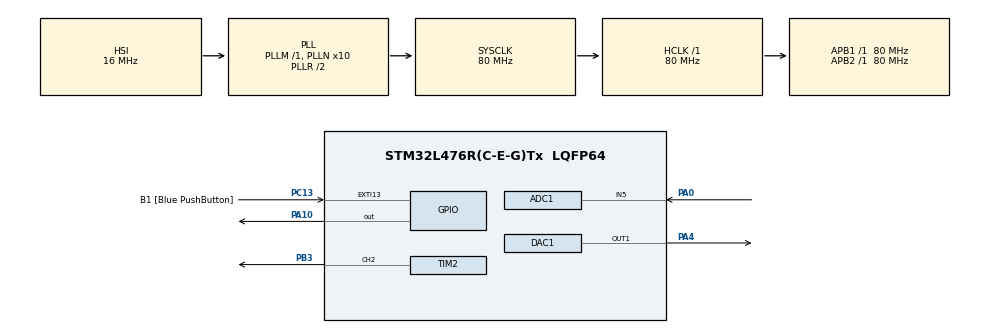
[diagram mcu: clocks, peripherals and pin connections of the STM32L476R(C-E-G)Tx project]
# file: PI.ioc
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ADC1.Channel-0\#ChannelRegularConversion=ADC_CHANNEL_5
ADC1.ContinuousConvMode=ENABLE
ADC1.DMAContinuousRequests=ENABLE
ADC1.NbrOfConversionFlag=1
ADC1.OffsetNumber-0\#ChannelRegularConversion=ADC_OFFSET_NONE
ADC1.Rank-0\#ChannelRegularConversion=1
ADC1.SamplingTime-0\#ChannelRegularConversion=ADC_SAMPLETIME_92CYCLES_5
ADC1.master=1
Dma.ADC1.0.Direction=DMA_PERIPH_TO_MEMORY
Dma.ADC1.0.Instance=DMA1_Channel1
Dma.ADC1.0.MemDataAlignment=DMA_MDATAALIGN_HALFWORD
Dma.ADC1.0.MemInc=DMA_MINC_ENABLE
Dma.ADC1.0.Mode=DMA_CIRCULAR
Dma.ADC1.0.PeriphDataAlignment=DMA_PDATAALIGN_HALFWORD
Dma.ADC1.0.PeriphInc=DMA_PINC_DISABLE
Dma.ADC1.0.Priority=DMA_PRIORITY_LOW
Dma.Request0=ADC1
Mcu.Family=STM32L4
Mcu.Name=STM32L476R(C-E-G)Tx
Mcu.Package=LQFP64
NVIC.DMA1_Channel1_IRQn=true\:0\:0\:false\:false\:true\:false\:true
NVIC.PriorityGroup=NVIC_PRIORITYGROUP_4
NVIC.TIM3_IRQn=true\:0\:0\:false\:false\:true\:true\:true
PA0.Signal=ADCx_IN5
PA10.Signal=GPIO_Output
PA13\ (JTMS-SWDIO).GPIO_Label=TMS
PA13\ (JTMS-SWDIO).Mode=Serial_Wire
PA13\ (JTMS-SWDIO).Signal=SYS_JTMS-SWDIO
PA14\ (JTCK-SWCLK).GPIO_Label=TCK
PA14\ (JTCK-SWCLK).Mode=Serial_Wire
PA14\ (JTCK-SWCLK).Signal=SYS_JTCK-SWCLK
PA4.Signal=COMP_DAC11_group
PB3\ (JTDO-TRACESWO).Signal=S_TIM2_CH2
PC13.GPIO_Label=B1 [Blue PushButton]
PC13.GPIO_ModeDefaultEXTI=GPIO_MODE_IT_FALLING
PC13.GPIO_PuPd=GPIO_NOPULL
PC13.Signal=GPXTI13
PC14-OSC32_IN\ (PC14).Mode=LSE-External-Oscillator
PC14-OSC32_IN\ (PC14).Signal=RCC_OSC32_IN
PC15-OSC32_OUT\ (PC15).Mode=LSE-External-Oscillator
PC15-OSC32_OUT\ (PC15).Signal=RCC_OSC32_OUT
PH0-OSC_IN\ (PH0).Signal=RCC_OSC_IN
PH1-OSC_OUT\ (PH1).Signal=RCC_OSC_OUT
ProjectManager.HeapSize=0x200
ProjectManager.StackSize=0x400
ProjectManager.TargetToolchain=STM32CubeIDE
RCC.ADCFreq_Value=64000000
RCC.AHBFreq_Value=80000000
RCC.APB1Freq_Value=80000000
RCC.APB1TimFreq_Value=80000000
RCC.APB2Freq_Value=80000000
RCC.APB2TimFreq_Value=80000000
RCC.CortexFreq_Value=80000000
RCC.HCLKFreq_Value=80000000
RCC.HSE_VALUE=8000000
RCC.HSI_VALUE=16000000
RCC.MSI_VALUE=4000000
RCC.PLLN=10
RCC.PLLSourceVirtual=RCC_PLLSOURCE_HSI
RCC.PREFETCH_ENABLE=1
RCC.SYSCLKFreq_VALUE=80000000
RCC.SYSCLKSource=RCC_SYSCLKSOURCE_PLLCLK
RCC.USBFreq_Value=64000000
RCC.VCOOutputFreq_Value=160000000
SH.ADCx_IN5.0=ADC1_IN5,IN5-Single-Ended
SH.COMP_DAC11_group.0=DAC1_OUT1,DAC_OUT1
SH.S_TIM2_CH2.0=TIM2_CH2,PWM Generation2 CH2
TIM2.Channel-PWM\ Generation2\ CH2=TIM_CHANNEL_2
TIM2.Period=1600-1
TIM3.Period=100-1
TIM3.Prescaler=80-1
VP_TIM3_VS_ClockSourceINT.Mode=Internal
board=NUCLEO-L476RG

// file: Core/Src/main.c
/* USER CODE BEGIN Header */
/**
  ******************************************************************************
  * @file           : main.c
  * @brief          : Main program body
  ******************************************************************************
  * @attention
  *
  * <h2><center>&copy; Copyright (c) 2020 STMicroelectronics.
  * All rights reserved.</center></h2>
  *
  * This software component is licensed by ST under BSD 3-Clause license,
  * the "License"; You may not use this file except in compliance with the
  * License. You may obtain a copy of the License at:
  *                        opensource.org/licenses/BSD-3-Clause
  *
  ******************************************************************************
  */
/* USER CODE END Header */

#include "main.h"

/* USER CODE BEGIN PD */
#define SIZE 7
#define COUNTER_PERIOD 3999
/* USER CODE END PD */

ADC_HandleTypeDef hadc1;
DMA_HandleTypeDef hdma_adc1;

DAC_HandleTypeDef hdac1;

TIM_HandleTypeDef htim2;
TIM_HandleTypeDef htim3;

/* USER CODE BEGIN PV */
uint16_t iter = 0;
int64_t integral = 0;
uint16_t adc_buf[SIZE];
const uint16_t ref = 1695;

/* USER CODE END PV */

void SystemClock_Config(void);
static void MX_GPIO_Init(void);
static void MX_DMA_Init(void);
static void MX_ADC1_Init(void);
static void MX_DAC1_Init(void);
static void MX_TIM2_Init(void);
static void MX_TIM3_Init(void);

/* USER CODE BEGIN 0 */
void swap(int* a, int* b)
{
	int t = *a;
    *a = *b;
    *b = t;
}

int partition (int arr[], int low, int high)
{
	int pivot = arr[high];    // pivot
	int i = (low - 1);  // Index of smaller element

    for (int j = low; j <= high- 1; j++)
    {
        // If current element is smaller than the pivot
        if (arr[j] < pivot)
        {
            i++;    // increment index of smaller element
            swap(&arr[i], &arr[j]);
        }
    }
    swap(&arr[i + 1], &arr[high]);
    return (i + 1);
}

void quickSort(int arr[], int low, int high)
{
    if (low < high)
    {
        /* pi is partitioning index, arr[p] is now
           at right place */
    	int pi = partition(arr, low, high);

        // Separately sort elements before
        // partition and after partition
        quickSort(arr, low, pi - 1);
        quickSort(arr, pi + 1, high);
    }
}

int get_median(int *values){
	int n = sizeof(values)/sizeof(values[0]);
    quickSort(values, 0, n-1);
    return values[SIZE/2];
}

void HAL_TIM_PeriodElapsedCallback(TIM_HandleTypeDef *htim)
{
	if (htim->Instance == htim3.Instance)
    {
		if(iter < 10000){
			iter++;
		}
		else{
			HAL_GPIO_WritePin(GPIOA,GPIO_PIN_10,GPIO_PIN_SET);

			int values[SIZE];
			for(uint8_t i = 0; i<SIZE; i++){
				values[i] = (int)adc_buf[i];
			}
			int y = get_median(values);
			int e = ref-y;
			integral += e;
			double u = 0.000002*integral;

			if(u<0) u=0;
			if(u>1) u=1;

			uint16_t input = u*COUNTER_PERIOD;
			htim2.Instance->CCR2 = input;
			HAL_DAC_SetValue(&hdac1, DAC_CHANNEL_1, DAC_ALIGN_12B_R, u*4095/3.3);
		}
	}
	//HAL_GPIO_WritePin(GPIOA,GPIO_PIN_10,GPIO_PIN_RESET);
}
/* USER CODE END 0 */

int main(void)
{

  /* MCU Configuration--------------------------------------------------------*/

  /* Reset of all peripherals, Initializes the Flash interface and the Systick. */
  HAL_Init();

  /* Configure the system clock */
  SystemClock_Config();

  /* Initialize all configured peripherals */
  MX_GPIO_Init();
  MX_DMA_Init();
  MX_ADC1_Init();
  MX_DAC1_Init();
  MX_TIM2_Init();
  MX_TIM3_Init();
  /* USER CODE BEGIN 2 */
  HAL_DAC_Start(&hdac1, DAC_CHANNEL_1);
  HAL_ADC_Start_DMA(&hadc1, (uint32_t*)adc_buf, SIZE);
  HAL_TIM_Base_Start_IT(&htim3);
  HAL_TIM_PWM_Start(&htim2, TIM_CHANNEL_2);
  htim2.Instance->CCR2 = 0;
  /* USER CODE END 2 */

  /* Infinite loop */
  while (1)
  {

  }
}

void SystemClock_Config(void)
{
  RCC_OscInitTypeDef RCC_OscInitStruct = {0};
  RCC_ClkInitTypeDef RCC_ClkInitStruct = {0};
  RCC_PeriphCLKInitTypeDef PeriphClkInit = {0};

  /** Initializes the CPU, AHB and APB busses clocks
  */
  RCC_OscInitStruct.OscillatorType = RCC_OSCILLATORTYPE_HSI;
  RCC_OscInitStruct.HSIState = RCC_HSI_ON;
  RCC_OscInitStruct.HSICalibrationValue = RCC_HSICALIBRATION_DEFAULT;
  RCC_OscInitStruct.PLL.PLLState = RCC_PLL_ON;
  RCC_OscInitStruct.PLL.PLLSource = RCC_PLLSOURCE_HSI;
  RCC_OscInitStruct.PLL.PLLM = 1;
  RCC_OscInitStruct.PLL.PLLN = 10;
  RCC_OscInitStruct.PLL.PLLP = RCC_PLLP_DIV7;
  RCC_OscInitStruct.PLL.PLLQ = RCC_PLLQ_DIV2;
  RCC_OscInitStruct.PLL.PLLR = RCC_PLLR_DIV2;
  if (HAL_RCC_OscConfig(&RCC_OscInitStruct) != HAL_OK)
  {
    Error_Handler();
  }
  /** Initializes the CPU, AHB and APB busses clocks
  */
  RCC_ClkInitStruct.ClockType = RCC_CLOCKTYPE_HCLK|RCC_CLOCKTYPE_SYSCLK
                              |RCC_CLOCKTYPE_PCLK1|RCC_CLOCKTYPE_PCLK2;
  RCC_ClkInitStruct.SYSCLKSource = RCC_SYSCLKSOURCE_PLLCLK;
  RCC_ClkInitStruct.AHBCLKDivider = RCC_SYSCLK_DIV1;
  RCC_ClkInitStruct.APB1CLKDivider = RCC_HCLK_DIV1;
  RCC_ClkInitStruct.APB2CLKDivider = RCC_HCLK_DIV1;

  if (HAL_RCC_ClockConfig(&RCC_ClkInitStruct, FLASH_LATENCY_4) != HAL_OK)
  {
    Error_Handler();
  }
  PeriphClkInit.PeriphClockSelection = RCC_PERIPHCLK_ADC;
  PeriphClkInit.AdcClockSelection = RCC_ADCCLKSOURCE_PLLSAI1;
  PeriphClkInit.PLLSAI1.PLLSAI1Source = RCC_PLLSOURCE_HSI;
  PeriphClkInit.PLLSAI1.PLLSAI1M = 1;
  PeriphClkInit.PLLSAI1.PLLSAI1N = 8;
  PeriphClkInit.PLLSAI1.PLLSAI1P = RCC_PLLP_DIV7;
  PeriphClkInit.PLLSAI1.PLLSAI1Q = RCC_PLLQ_DIV2;
  PeriphClkInit.PLLSAI1.PLLSAI1R = RCC_PLLR_DIV2;
  PeriphClkInit.PLLSAI1.PLLSAI1ClockOut = RCC_PLLSAI1_ADC1CLK;
  if (HAL_RCCEx_PeriphCLKConfig(&PeriphClkInit) != HAL_OK)
  {
    Error_Handler();
  }
  /** Configure the main internal regulator output voltage
  */
  if (HAL_PWREx_ControlVoltageScaling(PWR_REGULATOR_VOLTAGE_SCALE1) != HAL_OK)
  {
    Error_Handler();
  }
}

static void MX_ADC1_Init(void)
{

  ADC_MultiModeTypeDef multimode = {0};
  ADC_ChannelConfTypeDef sConfig = {0};

  /** Common config
  */
  hadc1.Instance = ADC1;
  hadc1.Init.ClockPrescaler = ADC_CLOCK_ASYNC_DIV1;
  hadc1.Init.Resolution = ADC_RESOLUTION_12B;
  hadc1.Init.DataAlign = ADC_DATAALIGN_RIGHT;
  hadc1.Init.ScanConvMode = ADC_SCAN_DISABLE;
  hadc1.Init.EOCSelection = ADC_EOC_SINGLE_CONV;
  hadc1.Init.LowPowerAutoWait = DISABLE;
  hadc1.Init.ContinuousConvMode = ENABLE;
  hadc1.Init.NbrOfConversion = 1;
  hadc1.Init.DiscontinuousConvMode = DISABLE;
  hadc1.Init.NbrOfDiscConversion = 1;
  hadc1.Init.ExternalTrigConv = ADC_SOFTWARE_START;
  hadc1.Init.ExternalTrigConvEdge = ADC_EXTERNALTRIGCONVEDGE_NONE;
  hadc1.Init.DMAContinuousRequests = ENABLE;
  hadc1.Init.Overrun = ADC_OVR_DATA_PRESERVED;
  hadc1.Init.OversamplingMode = DISABLE;
  if (HAL_ADC_Init(&hadc1) != HAL_OK)
  {
    Error_Handler();
  }
  /** Configure the ADC multi-mode
  */
  multimode.Mode = ADC_MODE_INDEPENDENT;
  if (HAL_ADCEx_MultiModeConfigChannel(&hadc1, &multimode) != HAL_OK)
  {
    Error_Handler();
  }
  /** Configure Regular Channel
  */
  sConfig.Channel = ADC_CHANNEL_5;
  sConfig.Rank = ADC_REGULAR_RANK_1;
  sConfig.SamplingTime = ADC_SAMPLETIME_92CYCLES_5;
  sConfig.SingleDiff = ADC_SINGLE_ENDED;
  sConfig.OffsetNumber = ADC_OFFSET_NONE;
  sConfig.Offset = 0;
  if (HAL_ADC_ConfigChannel(&hadc1, &sConfig) != HAL_OK)
  {
    Error_Handler();
  }

}

static void MX_DAC1_Init(void)
{

  DAC_ChannelConfTypeDef sConfig = {0};

  /** DAC Initialization
  */
  hdac1.Instance = DAC1;
  if (HAL_DAC_Init(&hdac1) != HAL_OK)
  {
    Error_Handler();
  }
  /** DAC channel OUT1 config
  */
  sConfig.DAC_SampleAndHold = DAC_SAMPLEANDHOLD_DISABLE;
  sConfig.DAC_Trigger = DAC_TRIGGER_NONE;
  sConfig.DAC_OutputBuffer = DAC_OUTPUTBUFFER_ENABLE;
  sConfig.DAC_ConnectOnChipPeripheral = DAC_CHIPCONNECT_DISABLE;
  sConfig.DAC_UserTrimming = DAC_TRIMMING_FACTORY;
  if (HAL_DAC_ConfigChannel(&hdac1, &sConfig, DAC_CHANNEL_1) != HAL_OK)
  {
    Error_Handler();
  }

}

static void MX_TIM2_Init(void)
{

  TIM_MasterConfigTypeDef sMasterConfig = {0};
  TIM_OC_InitTypeDef sConfigOC = {0};

  htim2.Instance = TIM2;
  htim2.Init.Prescaler = 0;
  htim2.Init.CounterMode = TIM_COUNTERMODE_UP;
  htim2.Init.Period = 4000-1;
  htim2.Init.ClockDivision = TIM_CLOCKDIVISION_DIV1;
  htim2.Init.AutoReloadPreload = TIM_AUTORELOAD_PRELOAD_DISABLE;
  if (HAL_TIM_PWM_Init(&htim2) != HAL_OK)
  {
    Error_Handler();
  }
  sMasterConfig.MasterOutputTrigger = TIM_TRGO_RESET;
  sMasterConfig.MasterSlaveMode = TIM_MASTERSLAVEMODE_DISABLE;
  if (HAL_TIMEx_MasterConfigSynchronization(&htim2, &sMasterConfig) != HAL_OK)
  {
    Error_Handler();
  }
  sConfigOC.OCMode = TIM_OCMODE_PWM1;
  sConfigOC.Pulse = 0;
  sConfigOC.OCPolarity = TIM_OCPOLARITY_HIGH;
  sConfigOC.OCFastMode = TIM_OCFAST_DISABLE;
  if (HAL_TIM_PWM_ConfigChannel(&htim2, &sConfigOC, TIM_CHANNEL_2) != HAL_OK)
  {
    Error_Handler();
  }
  HAL_TIM_MspPostInit(&htim2);

}

static void MX_TIM3_Init(void)
{

  TIM_ClockConfigTypeDef sClockSourceConfig = {0};
  TIM_MasterConfigTypeDef sMasterConfig = {0};

  htim3.Instance = TIM3;
  htim3.Init.Prescaler = 80-1;
  htim3.Init.CounterMode = TIM_COUNTERMODE_UP;
  htim3.Init.Period = 100-1;
  htim3.Init.ClockDivision = TIM_CLOCKDIVISION_DIV1;
  htim3.Init.AutoReloadPreload = TIM_AUTORELOAD_PRELOAD_DISABLE;
  if (HAL_TIM_Base_Init(&htim3) != HAL_OK)
  {
    Error_Handler();
  }
  sClockSourceConfig.ClockSource = TIM_CLOCKSOURCE_INTERNAL;
  if (HAL_TIM_ConfigClockSource(&htim3, &sClockSourceConfig) != HAL_OK)
  {
    Error_Handler();
  }
  sMasterConfig.MasterOutputTrigger = TIM_TRGO_RESET;
  sMasterConfig.MasterSlaveMode = TIM_MASTERSLAVEMODE_DISABLE;
  if (HAL_TIMEx_MasterConfigSynchronization(&htim3, &sMasterConfig) != HAL_OK)
  {
    Error_Handler();
  }

}

static void MX_DMA_Init(void)
{

  /* DMA controller clock enable */
  __HAL_RCC_DMA1_CLK_ENABLE();

  /* DMA interrupt init */
  /* DMA1_Channel1_IRQn interrupt configuration */
  HAL_NVIC_SetPriority(DMA1_Channel1_IRQn, 0, 0);
  HAL_NVIC_EnableIRQ(DMA1_Channel1_IRQn);

}

static void MX_GPIO_Init(void)
{
  GPIO_InitTypeDef GPIO_InitStruct = {0};

  /* GPIO Ports Clock Enable */
  __HAL_RCC_GPIOC_CLK_ENABLE();
  __HAL_RCC_GPIOH_CLK_ENABLE();
  __HAL_RCC_GPIOA_CLK_ENABLE();
  __HAL_RCC_GPIOB_CLK_ENABLE();

  /*Configure GPIO pin Output Level */
  HAL_GPIO_WritePin(GPIOA, GPIO_PIN_10, GPIO_PIN_RESET);

  /*Configure GPIO pin : B1_Pin */
  GPIO_InitStruct.Pin = B1_Pin;
  GPIO_InitStruct.Mode = GPIO_MODE_IT_FALLING;
  GPIO_InitStruct.Pull = GPIO_NOPULL;
  HAL_GPIO_Init(B1_GPIO_Port, &GPIO_InitStruct);

  /*Configure GPIO pin : PA10 */
  GPIO_InitStruct.Pin = GPIO_PIN_10;
  GPIO_InitStruct.Mode = GPIO_MODE_OUTPUT_PP;
  GPIO_InitStruct.Pull = GPIO_NOPULL;
  GPIO_InitStruct.Speed = GPIO_SPEED_FREQ_LOW;
  HAL_GPIO_Init(GPIOA, &GPIO_InitStruct);

}

void Error_Handler(void)
{
}

/************************ (C) COPYRIGHT STMicroelectronics *****END OF FILE****/
